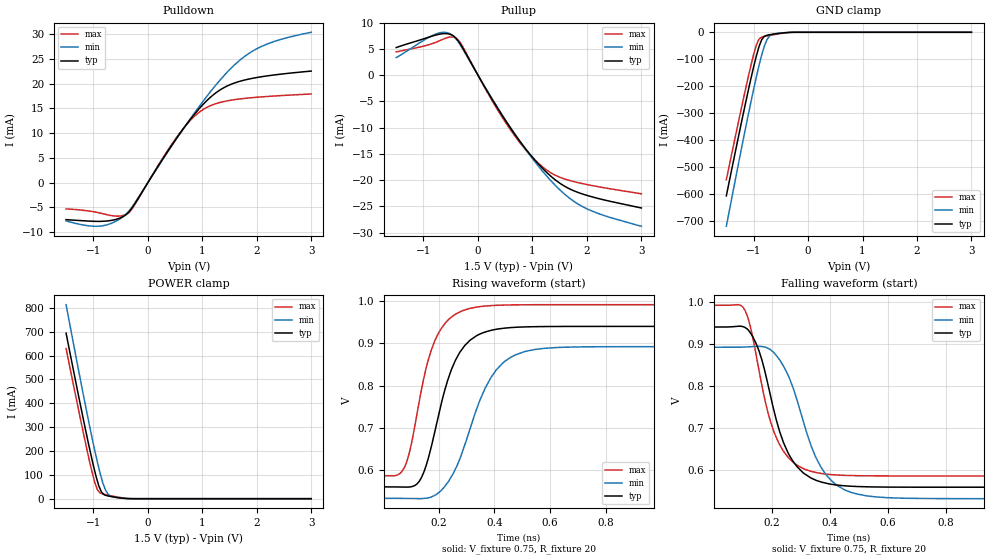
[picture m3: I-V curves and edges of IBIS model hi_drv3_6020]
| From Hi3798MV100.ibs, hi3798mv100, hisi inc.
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[Model]   hi_drv3_6020
Model_type   I/O
Polarity   Non-Inverting
Enable   Active-High
Vinl = 0.575
Vinh = 0.925
Vmeas = 0.75
Cref = 0
Rref = 20
Vref = 0.75
| variable   typ   min   max
C_comp   3.44836p   3.31741p   3.59689p
| Subparameter   typ   min   max
[Model Spec]
Vinl   0.575   0.575   0.575
Vinh   0.925   0.925   0.925
Vmeas   0.75   0.75   0.75
Cref   0   0   0
Rref   20   20   20
Vref   0.75   0.75   0.75
| Variable   typ   min   max
[Temperature Range] 25   125   -40
| Variable   typ   min   max
[Voltage Range]   1.5   1.425   1.575
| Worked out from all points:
|   slope of the pulldown table from 0 to 0.225 V, typ, clamps not added: 56.9 ohm
|   slope of the pullup table from 0 to 0.225 V, typ, clamps not added: 56.3 ohm
|   GND clamp passes 1 mA (typ) near -0.38 V on its own axis
|   POWER clamp passes 1 mA (typ) near -0.41 V on its own axis
|   rising waveform, V_fixture 0.75, R_fixture 20: 20-80 % time 97.6ps typ, 127ps min, 85.4ps max; typ from 0.56 V to 0.94 V
|   falling waveform, V_fixture 0.75, R_fixture 20: 20-80 % time 95.1ps typ, 113ps min, 85.9ps max; typ from 0.94 V to 0.56 V
[Power_clamp]
| Note that the [POWER_clamp] voltage table is referenced to Vcc
| and is calculated using Vtable=Vcc - Vmeasured.
| Voltage   I(typ)   I(min)   I(max)
-1.5V     693.8mA    813.1mA    629.1mA
-1.175V   324.1mA    426.1mA    267.2mA
-1.075V   216.2mA    312.2mA    162.2mA
-975mV    116.6mA    203.6mA    69.48mA
-925mV    73.8mA     152.9mA    37.32mA
-900mV    54.15mA    129.5mA    30.53mA
-850mV    27.61mA    85.94mA    21.73mA
-775mV    14.33mA    35.43mA    17.07mA
-725mV    11.22mA    17.85mA    14.61mA
-625mV    7.173mA    6.73mA     9.915mA
-325mV    202.2uA    222.3uA    269.4uA
3V        -32.51nA   -746.2nA   -14.36nA
[Pulldown]
| Voltage   I(typ)   I(min)   I(max)
-1.5V     -7.456mA   -7.713mA   -5.291mA
-900mV    -7.808mA   -8.785mA   -6.065mA
-650mV    -7.572mA   -8.113mA   -6.67mA
-450mV    -6.819mA   -6.822mA   -6.621mA
-300mV    -5.26mA    -5.075mA   -5.455mA
250mV     4.386mA    4.276mA    4.558mA
600mV     10.11mA    10.06mA    10.22mA
1V        15.64mA    16.24mA    14.67mA
1.4V      19.22mA    21.65mA    16.41mA
1.85V     20.92mA    26.07mA    17.11mA
2.3V      21.74mA    28.45mA    17.5mA
3V        22.55mA    30.38mA    17.92mA
[Pullup]
| Voltage   I(typ)   I(min)   I(max)
-1.5V     5.248mA    3.346mA    4.426mA
-775mV    7.624mA    7.816mA    6.236mA
-625mV    7.9mA      8.158mA    6.906mA
-475mV    7.607mA    7.639mA    7.279mA
-325mV    5.945mA    5.781mA    6.211mA
275mV     -4.864mA   -4.755mA   -5.118mA
625mV     -10.49mA   -10.42mA   -10.82mA
925mV     -14.69mA   -14.86mA   -14.82mA
1.175V    -17.64mA   -18.17mA   -17.39mA
1.5V      -20.57mA   -21.82mA   -19.43mA
1.875V    -22.49mA   -24.8mA    -20.57mA
3V        -25.31mA   -28.8mA    -22.61mA
[GND_clamp]
| Voltage   I(typ)   I(min)   I(max)
-1.5V     -606.4mA   -719.1mA   -546.7mA
-1.15V    -264.9mA   -358mA     -212.8mA
-1.05V    -172.8mA   -259.7mA   -123.8mA
-950mV    -88.38mA   -166.4mA   -47.91mA
-900mV    -52.85mA   -123.1mA   -25.33mA
-850mV    -27.04mA   -83.49mA   -17.83mA
-800mV    -14.74mA   -49.95mA   -15.3mA
-750mV    -10.77mA   -25.72mA   -13.35mA
-700mV    -8.89mA    -12.61mA   -11.48mA
-600mV    -5.956mA   -5.07mA    -7.903mA
-300mV    -165.6uA   -228.6uA   -202.8uA
3V        69.88nA    998.8nA    13.39nA
[Ramp]
| Variable   typ   min   max
dV/dt_r   0.229032/0.095152n 0.216754/0.112826n 0.24367/0.085941n
dV/dt_f   0.229032/0.095152n 0.216754/0.112826n 0.24367/0.085941n
R_load = 20
[Rising_Waveform]
V_fixture = 0.75
V_fixture_min = 0.7125
V_fixture_max = 0.7875
R_fixture = 20
| Time   V(typ)   V(min)   V(max)
3.24ps    560.2mV    533.1mV    586.8mV
79.41ps   559.6mV    532.8mV    610mV
129.9ps   573.2mV    532.3mV    762.1mV
172.2ps   652.3mV    535.9mV    881.8mV
211.3ps   763.2mV    553.6mV    937.2mV
293.1ps   894.4mV    658.2mV    978.9mV
366.4ps   926.6mV    793.5mV    988.1mV
423ps     934.8mV    848.4mV    990.2mV
795.8ps   940mV      891.9mV    991.4mV
18.56ns   940mV      892.1mV    991.4mV
[Falling_Waveform]
V_fixture = 0.75
V_fixture_min = 0.7125
V_fixture_max = 0.7875
R_fixture = 20
| Time   V(typ)   V(min)   V(max)
790fs     940mV      892mV      991.4mV
108ps     938.5mV    892.6mV    978.4mV
155.8ps   882.9mV    894.1mV    835.9mV
207.6ps   740.1mV    878.8mV    690.2mV
239.8ps   666.1mV    847.3mV    645.5mV
285.4ps   609.6mV    769.1mV    613mV
366ps     573.3mV    611mV      593.2mV
458.3ps   563.1mV    551.7mV    588.1mV
847ps     560.2mV    533.1mV    586.8mV
18.56ns   560.2mV    533mV      586.8mV
